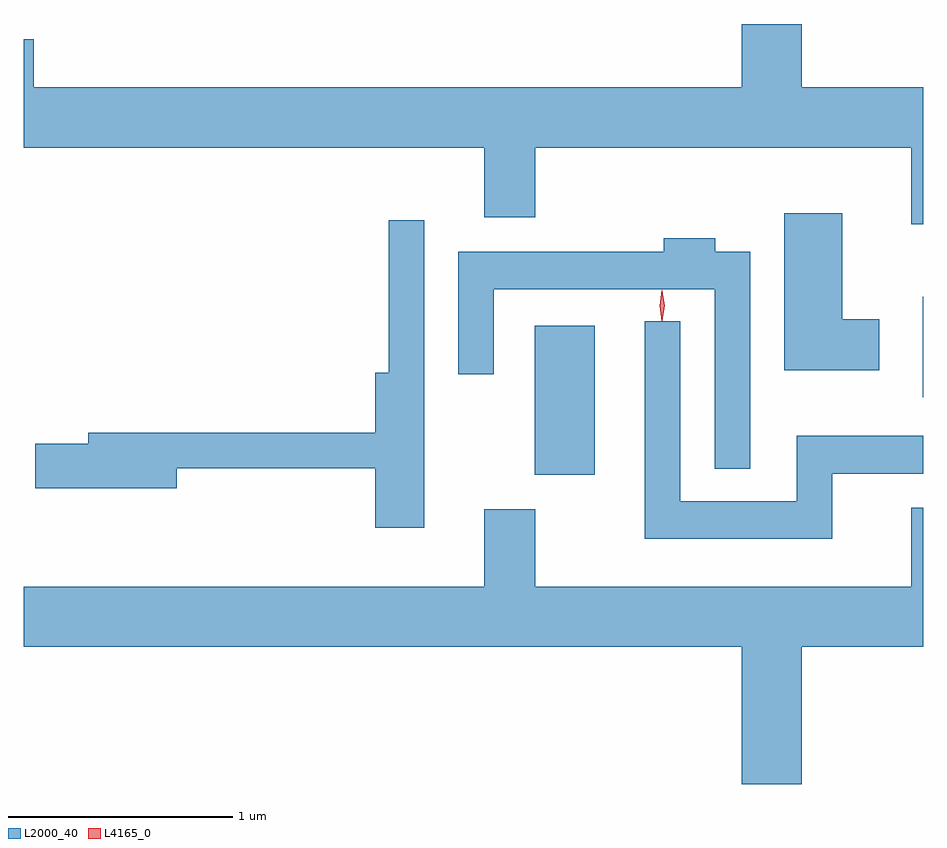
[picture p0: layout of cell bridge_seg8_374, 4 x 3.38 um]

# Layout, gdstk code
import gdstk
lib = gdstk.Library(unit=1e-6, precision=1e-09)
def R(c, l, rs):  # rectangles x0, y0, x1, y1
    for r in rs: c.add(gdstk.rectangle(r[:2], r[2:], *l))
def P(c, l, *ps):  # polygons
    for p in ps: c.add(gdstk.Polygon(p, *l))
L2000_40 = (2000, 40)
L4165_0 = (4165, 0)

bridge_seg8_374 = lib.new_cell('bridge_seg8_374')
R(bridge_seg8_374, L2000_40, [(693.676,1879.361,693.944,1880.024), (695.401,1879.706,695.404,1880.154)])
P(bridge_seg8_374, L2000_40, [(695.404,1881.084),(694.864,1881.084),(694.864,1881.366),(694.596,1881.366),(694.596,1881.084),(691.449,1881.084),(691.449,1881.299),(691.404,1881.299),(691.404,1880.816),(693.451,1880.816),(693.451,1880.506),(693.679,1880.506),(693.679,1880.816),(695.351,1880.816),(695.351,1880.476),(695.404,1880.476)],
  [(695.209,1880.054),(695.044,1880.054),(695.044,1880.524),(694.786,1880.524),(694.786,1879.826),(695.209,1879.826)],
  [(693.184,1880.493),(693.026,1880.493),(693.026,1879.814),(692.966,1879.814),(692.966,1879.549),(691.691,1879.549),(691.691,1879.499),(691.456,1879.499),(691.456,1879.301),(692.084,1879.301),(692.084,1879.391),(692.966,1879.391),(692.966,1879.126),(693.184,1879.126)],
  [(694.634,1880.354),(694.479,1880.354),(694.479,1880.414),(694.251,1880.414),(694.251,1880.354),(693.336,1880.354),(693.336,1879.808),(693.494,1879.808),(693.494,1880.186),(694.476,1880.186),(694.476,1879.388),(694.634,1879.388)],
  [(694.999,1879.366),(695.404,1879.366),(695.404,1879.534),(694.841,1879.534),(694.841,1879.244),(694.324,1879.244),(694.324,1880.043),(694.166,1880.043),(694.166,1879.076),(694.999,1879.076)],
  [(694.864,1878.596),(695.404,1878.596),(695.404,1879.214),(695.351,1879.214),(695.351,1878.864),(693.679,1878.864),(693.679,1879.209),(693.451,1879.209),(693.451,1878.864),(691.404,1878.864),(691.404,1878.596),(694.596,1878.596),(694.596,1877.986),(694.864,1877.986)])
P(bridge_seg8_374, L4165_0, [(694.243,1880.043),(694.242,1880.044),(694.233,1880.113),(694.242,1880.182),(694.243,1880.183),(694.244,1880.182),(694.253,1880.113),(694.244,1880.044)],
  [(694.244,1880.047),(694.243,1880.048),(694.234,1880.114),(694.243,1880.18),(694.244,1880.18),(694.244,1880.18),(694.254,1880.114),(694.244,1880.048)])

lib.write_gds('bridge_seg8_374.gds')
